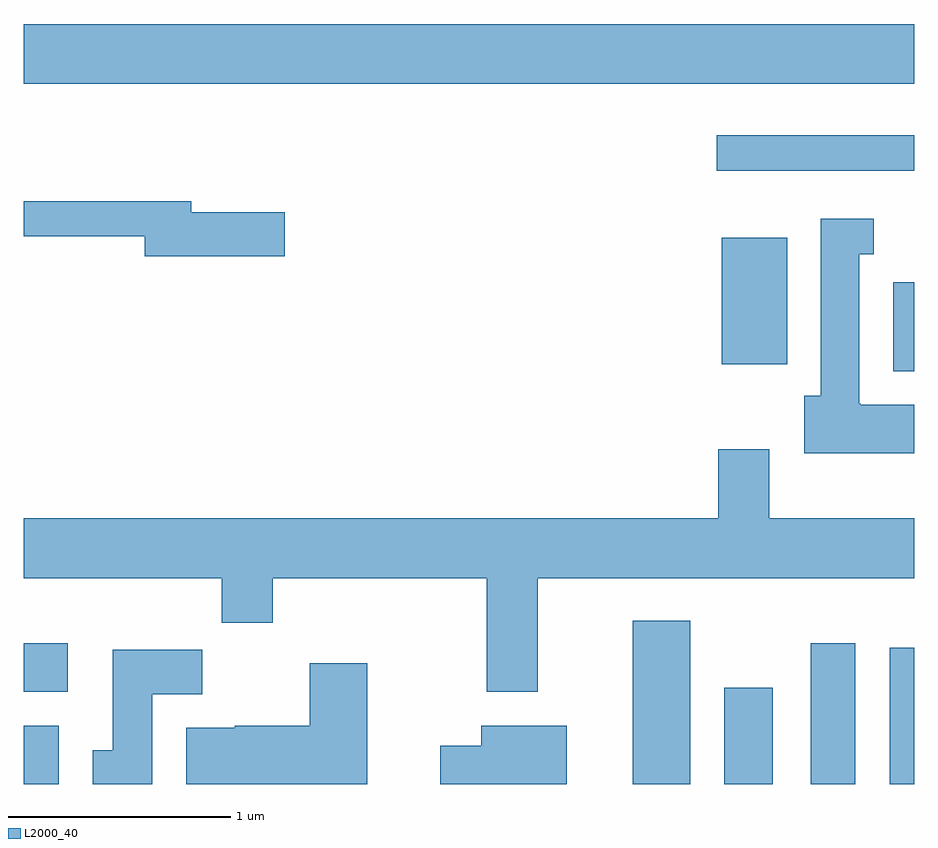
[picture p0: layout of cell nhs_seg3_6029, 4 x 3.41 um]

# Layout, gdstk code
import gdstk
lib = gdstk.Library(unit=1e-6, precision=1e-09)
def R(c, l, rs):  # rectangles x0, y0, x1, y1
    for r in rs: c.add(gdstk.rectangle(r[:2], r[2:], *l))
def P(c, l, *ps):  # polygons
    for p in ps: c.add(gdstk.Polygon(p, *l))
L2000_40 = (2000, 40)

nhs_seg3_6029 = lib.new_cell('nhs_seg3_6029')
R(nhs_seg3_6029, L2000_40, [(361.611,1213.892,361.769,1214.154), (364.346,1213.892,364.604,1214.624), (364.756,1213.892,364.974,1214.324), (365.146,1213.892,365.344,1214.524), (365.501,1213.892,365.611,1214.503), (361.611,1214.306,361.809,1214.524), (365.516,1215.746,365.611,1216.144), (364.746,1215.776,365.039,1216.344), (364.723,1216.646,365.611,1216.804), (361.611,1217.036,365.611,1217.304)])
P(nhs_seg3_6029, L2000_40, [(362.784,1216.459),(362.364,1216.459),(362.364,1216.509),(361.611,1216.509),(361.611,1216.351),(362.156,1216.351),(362.156,1216.261),(362.784,1216.261)],
  [(365.611,1215.594),(365.37,1215.594),(365.37,1215.6),(365.364,1215.6),(365.364,1216.271),(365.428,1216.271),(365.428,1216.429),(365.191,1216.429),(365.191,1215.634),(365.116,1215.634),(365.116,1215.376),(365.611,1215.376)],
  [(363.919,1214.816),(365.611,1214.816),(365.611,1215.084),(364.959,1215.084),(364.959,1215.394),(364.731,1215.394),(364.731,1215.084),(361.611,1215.084),(361.611,1214.816),(362.501,1214.816),(362.501,1214.616),(362.729,1214.616),(362.729,1214.816),(363.691,1214.816),(363.691,1214.306),(363.919,1214.306)],
  [(362.189,1214.296),(362.414,1214.296),(362.414,1214.494),(362.011,1214.494),(362.011,1214.044),(361.921,1214.044),(361.921,1213.892),(362.189,1213.892)],
  [(363.154,1214.434),(362.896,1214.434),(362.896,1214.154),(362.56,1214.154),(362.56,1214.144),(362.341,1214.144),(362.341,1213.892),(363.154,1213.892)],
  [(364.049,1214.154),(363.666,1214.154),(363.666,1214.064),(363.481,1214.064),(363.481,1213.892),(364.049,1213.892)])

lib.write_gds('nhs_seg3_6029.gds')
